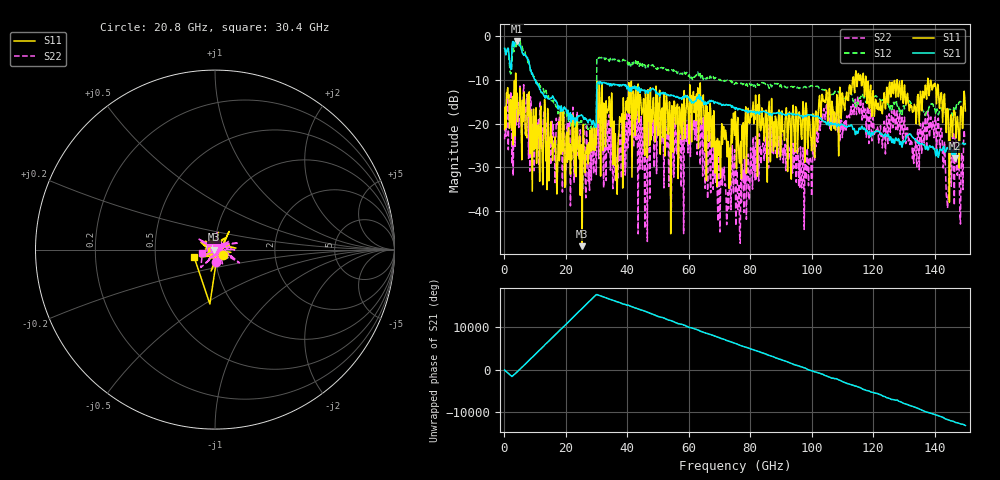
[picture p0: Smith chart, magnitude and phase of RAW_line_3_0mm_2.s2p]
!  2-Port S-parameters saved by WinCal
! VAR MeasName=S-Parameters (CALIBRATED_DATA) read from VNA (MS4647B)
! VAR MeasDate=27-Apr-22 15:13:42
! VAR NAME=RAW_line_3mm_2
! VAR FILENAME=RAW_line_3mm_2.S2P
! VAR DATE=27-Apr-22 15:13:42
! VAR PHYS_PORTS=1,2
! VAR ObjTypeName=DATASET
! VAR IndexType=Frequency
! VAR ChuckHeaterState=Unknown
! VAR ChuckTemp=NaN
! VAR ChuckTempUnits=Unknown
# Hz S RI R 50
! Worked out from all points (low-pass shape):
!   750 points, 200 MHz to 150 GHz, reference 50 ohm
!   highest |S21| = -1.02 dB at 4.2 GHz (marker M1); lowest = -28.0 dB at 146.6 GHz (marker M2)
!   |S21| within 3 dB of the highest: 662.4 MHz to 1.592 GHz (929.5 MHz wide, 82.5 % of centre); 2.537 GHz to 6.248 GHz (3.711 GHz wide, 84.5 % of centre)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
!   lowest |S11| = -48.1 dB at 25.4 GHz (marker M3), VSWR 1.01, Z = 49.6 + j0.0055 ohm
!   |S11| at or under -10 dB: 3.84 GHz to 113.3 GHz (109.5 GHz wide, 187 % of centre); 117.7 GHz to 127.8 GHz (10.09 GHz wide, 8.22 % of centre); 137.8 GHz to end of sweep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
!   |S22| runs from -47.4 to -11.1 dB; largest |S21 - S12| = 1.7
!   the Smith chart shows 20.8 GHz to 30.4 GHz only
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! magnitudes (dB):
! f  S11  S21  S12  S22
! 200 MHz  -21.3  -2.7  -2.6  -23.6
! 4.2 GHz  -13.0  -1.0  -1.6  -13.0
! 25.2 GHz  -24.9  -18.0  -19.7  -31.0
! 25.4 GHz  -48.1  -18.2  -19.4  -34.5
! 29.4 GHz  -21.1  -20.3  -21.9  -21.8
! 30.8 GHz  -17.3  -10.5  -5.0  -28.0
! 34.4 GHz  -14.5  -11.4  -5.4  -22.0
! 36.6 GHz  -29.9  -11.0  -5.3  -28.2
! 40.8 GHz  -17.6  -12.5  -6.0  -22.6
! 46 GHz  -12.9  -13.0  -7.2  -18.2
! 50.2 GHz  -15.4  -13.1  -7.4  -21.5
! 64.2 GHz  -20.1  -14.4  -9.7  -18.7
! 69.8 GHz  -26.4  -15.4  -9.8  -27.8
! 75.2 GHz  -17.2  -16.7  -10.7  -33.1
! 100.2 GHz  -24.4  -18.1  -11.3  -33.6
! 104.4 GHz  -15.2  -19.4  -12.2  -19.0
! 125.2 GHz  -11.3  -23.3  -16.6  -17.7
! 140.8 GHz  -13.1  -25.9  -16.6  -23.7
! 144.2 GHz  -16.6  -25.5  -16.5  -39.4
! 146.6 GHz  -17.6  -28.0  -18.0  -23.5
! 148.6 GHz  -16.0  -24.7  -15.0  -30.3
! 150 GHz  -17.1  -24.6  -15.5  -23.5
